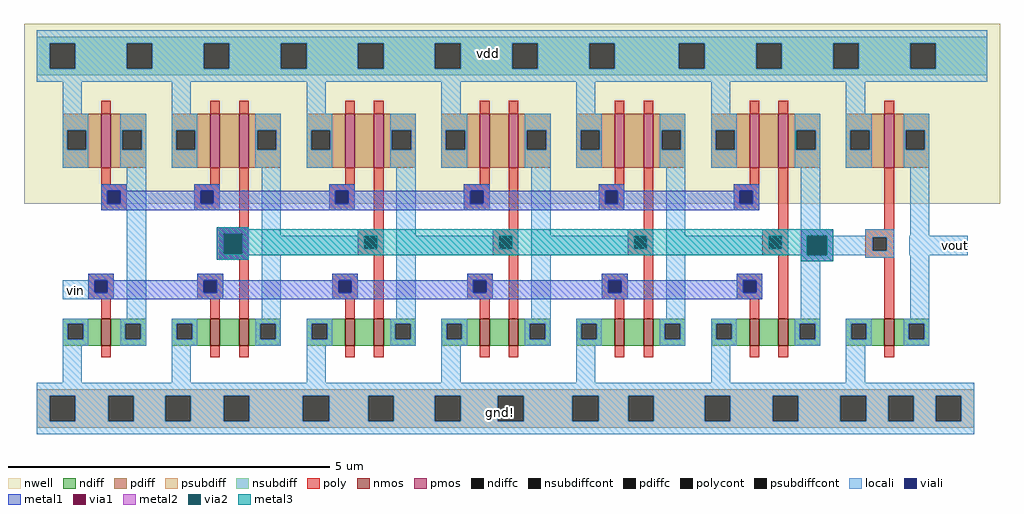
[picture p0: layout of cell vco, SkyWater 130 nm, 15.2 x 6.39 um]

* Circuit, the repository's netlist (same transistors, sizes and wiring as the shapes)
* NGSPICE file created from vco.ext - technology: sky130A


* Top level circuit vco

X0 a_915_n134# a_100_n200# vdd vdd sky130_fd_pr__pfet_01v8 w=840000u l=150000u
X1 a_540_n411# a_330_n411# a_495_n411# gnd sky130_fd_pr__nfet_01v8 w=420000u l=150000u
X2 a_705_n411# vin gnd gnd sky130_fd_pr__nfet_01v8 w=420000u l=150000u
X3 a_495_n411# vin gnd gnd sky130_fd_pr__nfet_01v8 w=420000u l=150000u
X4 a_100_n200# a_100_n200# vdd vdd sky130_fd_pr__pfet_01v8 w=840000u l=150000u
X5 a_330_n411# a_280_n277# a_285_n411# gnd sky130_fd_pr__nfet_01v8 w=420000u l=150000u
X6 a_285_n411# vin gnd gnd sky130_fd_pr__nfet_01v8 w=420000u l=150000u
X7 a_960_n411# a_750_n411# a_915_n134# vdd sky130_fd_pr__pfet_01v8 w=840000u l=150000u
X8 a_705_n134# a_100_n200# vdd vdd sky130_fd_pr__pfet_01v8 w=840000u l=150000u
X9 a_750_n411# a_540_n411# a_705_n134# vdd sky130_fd_pr__pfet_01v8 w=840000u l=150000u
X10 vout a_280_n277# gnd gnd sky130_fd_pr__nfet_01v8 w=420000u l=150000u
X11 a_540_n411# a_330_n411# a_495_n134# vdd sky130_fd_pr__pfet_01v8 w=840000u l=150000u
X12 a_1125_n411# vin gnd gnd sky130_fd_pr__nfet_01v8 w=420000u l=150000u
X13 a_495_n134# a_100_n200# vdd vdd sky130_fd_pr__pfet_01v8 w=840000u l=150000u
X14 a_330_n411# a_280_n277# a_285_n134# vdd sky130_fd_pr__pfet_01v8 w=840000u l=150000u
X15 a_285_n134# a_100_n200# vdd vdd sky130_fd_pr__pfet_01v8 w=840000u l=150000u
X16 a_280_n277# a_960_n411# a_1125_n411# gnd sky130_fd_pr__nfet_01v8 w=420000u l=150000u
X17 vout a_280_n277# vdd vdd sky130_fd_pr__pfet_01v8 w=840000u l=150000u
X18 a_1125_n134# a_100_n200# vdd vdd sky130_fd_pr__pfet_01v8 w=840000u l=150000u
X19 a_915_n411# vin gnd gnd sky130_fd_pr__nfet_01v8 w=420000u l=150000u
X20 a_100_n200# vin gnd gnd sky130_fd_pr__nfet_01v8 w=420000u l=150000u
X21 a_280_n277# a_960_n411# a_1125_n134# vdd sky130_fd_pr__pfet_01v8 w=840000u l=150000u
X22 a_960_n411# a_750_n411# a_915_n411# gnd sky130_fd_pr__nfet_01v8 w=420000u l=150000u
X23 a_750_n411# a_540_n411# a_705_n411# gnd sky130_fd_pr__nfet_01v8 w=420000u l=150000u
.end

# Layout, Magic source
magic
tech sky130A
<< nwell >>
rect -20 -190 1500 90
<< nmos >>
rect 100 -411 115 -369
rect 270 -411 285 -369
rect 315 -411 330 -369
rect 480 -411 495 -369
rect 525 -411 540 -369
rect 690 -411 705 -369
rect 735 -411 750 -369
rect 900 -411 915 -369
rect 945 -411 960 -369
rect 1110 -411 1125 -369
rect 1155 -411 1170 -369
rect 1320 -411 1335 -369
<< pmos >>
rect 100 -134 115 -50
rect 270 -134 285 -50
rect 315 -134 330 -50
rect 480 -134 495 -50
rect 525 -134 540 -50
rect 690 -134 705 -50
rect 735 -134 750 -50
rect 900 -134 915 -50
rect 945 -134 960 -50
rect 1110 -134 1125 -50
rect 1155 -134 1170 -50
rect 1320 -134 1335 -50
<< ndiff >>
rect 40 -377 100 -369
rect 40 -401 48 -377
rect 72 -401 100 -377
rect 40 -411 100 -401
rect 115 -377 170 -369
rect 115 -401 138 -377
rect 162 -401 170 -377
rect 115 -411 170 -401
rect 210 -377 270 -369
rect 210 -401 218 -377
rect 242 -401 270 -377
rect 210 -411 270 -401
rect 285 -411 315 -369
rect 330 -377 380 -369
rect 330 -401 348 -377
rect 372 -401 380 -377
rect 330 -411 380 -401
rect 420 -377 480 -369
rect 420 -401 428 -377
rect 452 -401 480 -377
rect 420 -411 480 -401
rect 495 -411 525 -369
rect 540 -377 590 -369
rect 540 -401 558 -377
rect 582 -401 590 -377
rect 540 -411 590 -401
rect 630 -377 690 -369
rect 630 -401 638 -377
rect 662 -401 690 -377
rect 630 -411 690 -401
rect 705 -411 735 -369
rect 750 -377 800 -369
rect 750 -401 768 -377
rect 792 -401 800 -377
rect 750 -411 800 -401
rect 840 -377 900 -369
rect 840 -401 848 -377
rect 872 -401 900 -377
rect 840 -411 900 -401
rect 915 -411 945 -369
rect 960 -377 1010 -369
rect 960 -401 978 -377
rect 1002 -401 1010 -377
rect 960 -411 1010 -401
rect 1050 -377 1110 -369
rect 1050 -401 1058 -377
rect 1082 -401 1110 -377
rect 1050 -411 1110 -401
rect 1125 -411 1155 -369
rect 1170 -377 1220 -369
rect 1170 -401 1188 -377
rect 1212 -401 1220 -377
rect 1170 -411 1220 -401
rect 1260 -377 1320 -369
rect 1260 -401 1268 -377
rect 1292 -401 1320 -377
rect 1260 -411 1320 -401
rect 1335 -377 1390 -369
rect 1335 -401 1358 -377
rect 1382 -401 1390 -377
rect 1335 -411 1390 -401
<< pdiff >>
rect 40 -76 100 -50
rect 40 -106 47 -76
rect 77 -106 100 -76
rect 40 -134 100 -106
rect 115 -76 170 -50
rect 115 -106 133 -76
rect 163 -106 170 -76
rect 115 -134 170 -106
rect 210 -76 270 -50
rect 210 -106 217 -76
rect 247 -106 270 -76
rect 210 -134 270 -106
rect 285 -134 315 -50
rect 330 -76 380 -50
rect 330 -106 343 -76
rect 373 -106 380 -76
rect 330 -134 380 -106
rect 420 -76 480 -50
rect 420 -106 427 -76
rect 457 -106 480 -76
rect 420 -134 480 -106
rect 495 -134 525 -50
rect 540 -76 590 -50
rect 540 -106 553 -76
rect 583 -106 590 -76
rect 540 -134 590 -106
rect 630 -76 690 -50
rect 630 -106 637 -76
rect 667 -106 690 -76
rect 630 -134 690 -106
rect 705 -134 735 -50
rect 750 -76 800 -50
rect 750 -106 763 -76
rect 793 -106 800 -76
rect 750 -134 800 -106
rect 840 -76 900 -50
rect 840 -106 847 -76
rect 877 -106 900 -76
rect 840 -134 900 -106
rect 915 -134 945 -50
rect 960 -76 1010 -50
rect 960 -106 973 -76
rect 1003 -106 1010 -76
rect 960 -134 1010 -106
rect 1050 -76 1110 -50
rect 1050 -106 1057 -76
rect 1087 -106 1110 -76
rect 1050 -134 1110 -106
rect 1125 -134 1155 -50
rect 1170 -76 1220 -50
rect 1170 -106 1183 -76
rect 1213 -106 1220 -76
rect 1170 -134 1220 -106
rect 1260 -76 1320 -50
rect 1260 -106 1267 -76
rect 1297 -106 1320 -76
rect 1260 -134 1320 -106
rect 1335 -76 1390 -50
rect 1335 -106 1353 -76
rect 1383 -106 1390 -76
rect 1335 -134 1390 -106
<< ndiffc >>
rect 48 -401 72 -377
rect 138 -401 162 -377
rect 218 -401 242 -377
rect 348 -401 372 -377
rect 428 -401 452 -377
rect 558 -401 582 -377
rect 638 -401 662 -377
rect 768 -401 792 -377
rect 848 -401 872 -377
rect 978 -401 1002 -377
rect 1058 -401 1082 -377
rect 1188 -401 1212 -377
rect 1268 -401 1292 -377
rect 1358 -401 1382 -377
<< pdiffc >>
rect 47 -106 77 -76
rect 133 -106 163 -76
rect 217 -106 247 -76
rect 343 -106 373 -76
rect 427 -106 457 -76
rect 553 -106 583 -76
rect 637 -106 667 -76
rect 763 -106 793 -76
rect 847 -106 877 -76
rect 973 -106 1003 -76
rect 1057 -106 1087 -76
rect 1183 -106 1213 -76
rect 1267 -106 1297 -76
rect 1353 -106 1383 -76
<< psubdiff >>
rect 0 -489 1460 -479
rect 0 -529 20 -489
rect 60 -529 111 -489
rect 151 -529 200 -489
rect 240 -529 291 -489
rect 331 -529 414 -489
rect 455 -529 516 -489
rect 556 -529 620 -489
rect 660 -529 718 -489
rect 758 -529 834 -489
rect 875 -529 921 -489
rect 961 -529 1040 -489
rect 1080 -529 1146 -489
rect 1186 -529 1251 -489
rect 1292 -529 1326 -489
rect 1366 -529 1400 -489
rect 1440 -529 1460 -489
rect 0 -539 1460 -529
<< nsubdiff >>
rect 0 60 1480 70
rect 0 20 20 60
rect 60 20 140 60
rect 180 20 260 60
rect 300 20 380 60
rect 420 20 500 60
rect 540 20 620 60
rect 660 20 740 60
rect 780 20 860 60
rect 900 20 1000 60
rect 1040 20 1120 60
rect 1160 20 1240 60
rect 1280 20 1360 60
rect 1400 20 1480 60
rect 0 10 1480 20
<< psubdiffcont >>
rect 20 -529 60 -489
rect 111 -529 151 -489
rect 200 -529 240 -489
rect 291 -529 331 -489
rect 414 -529 455 -489
rect 516 -529 556 -489
rect 620 -529 660 -489
rect 718 -529 758 -489
rect 834 -529 875 -489
rect 921 -529 961 -489
rect 1040 -529 1080 -489
rect 1146 -529 1186 -489
rect 1251 -529 1292 -489
rect 1326 -529 1366 -489
rect 1400 -529 1440 -489
<< nsubdiffcont >>
rect 20 20 60 60
rect 140 20 180 60
rect 260 20 300 60
rect 380 20 420 60
rect 500 20 540 60
rect 620 20 660 60
rect 740 20 780 60
rect 860 20 900 60
rect 1000 20 1040 60
rect 1120 20 1160 60
rect 1240 20 1280 60
rect 1360 20 1400 60
<< poly >>
rect 100 -50 115 -30
rect 270 -50 285 -30
rect 315 -50 330 -30
rect 480 -50 495 -30
rect 525 -50 540 -30
rect 690 -50 705 -30
rect 735 -50 750 -30
rect 900 -50 915 -30
rect 945 -50 960 -30
rect 1110 -50 1125 -30
rect 1155 -50 1170 -30
rect 1320 -50 1335 -30
rect 100 -160 115 -134
rect 270 -160 285 -134
rect 100 -170 140 -160
rect 100 -190 110 -170
rect 130 -190 140 -170
rect 100 -200 140 -190
rect 245 -170 285 -160
rect 245 -190 255 -170
rect 275 -190 285 -170
rect 245 -200 285 -190
rect 315 -227 330 -134
rect 480 -160 495 -134
rect 455 -170 495 -160
rect 455 -190 465 -170
rect 485 -190 495 -170
rect 455 -200 495 -190
rect 280 -237 330 -227
rect 525 -230 540 -134
rect 690 -160 705 -134
rect 665 -170 705 -160
rect 665 -190 675 -170
rect 695 -190 705 -170
rect 665 -200 705 -190
rect 735 -230 750 -134
rect 900 -160 915 -134
rect 875 -170 915 -160
rect 875 -190 885 -170
rect 905 -190 915 -170
rect 875 -200 915 -190
rect 945 -230 960 -134
rect 1110 -160 1125 -134
rect 1085 -170 1125 -160
rect 1085 -190 1095 -170
rect 1115 -190 1125 -170
rect 1085 -200 1125 -190
rect 1155 -230 1170 -134
rect 1320 -230 1335 -134
rect 280 -268 291 -237
rect 320 -268 330 -237
rect 280 -277 330 -268
rect 500 -240 540 -230
rect 500 -260 510 -240
rect 530 -260 540 -240
rect 500 -270 540 -260
rect 710 -240 750 -230
rect 710 -260 720 -240
rect 740 -260 750 -240
rect 710 -270 750 -260
rect 920 -240 960 -230
rect 920 -260 930 -240
rect 950 -260 960 -240
rect 920 -270 960 -260
rect 1130 -240 1170 -230
rect 1130 -260 1140 -240
rect 1160 -260 1170 -240
rect 1130 -270 1170 -260
rect 80 -309 120 -299
rect 80 -329 90 -309
rect 110 -329 120 -309
rect 80 -339 120 -329
rect 250 -309 290 -299
rect 250 -329 260 -309
rect 280 -329 290 -309
rect 250 -339 290 -329
rect 100 -369 115 -339
rect 270 -369 285 -339
rect 315 -369 330 -277
rect 460 -309 500 -299
rect 460 -329 470 -309
rect 490 -329 500 -309
rect 460 -339 500 -329
rect 480 -369 495 -339
rect 525 -369 540 -270
rect 670 -309 710 -299
rect 670 -329 680 -309
rect 700 -329 710 -309
rect 670 -339 710 -329
rect 690 -369 705 -339
rect 735 -369 750 -270
rect 880 -309 920 -299
rect 880 -329 890 -309
rect 910 -329 920 -309
rect 880 -339 920 -329
rect 900 -369 915 -339
rect 945 -369 960 -270
rect 1090 -309 1130 -299
rect 1090 -329 1100 -309
rect 1120 -329 1130 -309
rect 1090 -339 1130 -329
rect 1110 -369 1125 -339
rect 1155 -369 1170 -270
rect 1290 -242 1335 -230
rect 1290 -263 1302 -242
rect 1324 -263 1335 -242
rect 1290 -274 1335 -263
rect 1320 -369 1335 -274
rect 100 -429 115 -411
rect 270 -429 285 -411
rect 315 -429 330 -411
rect 480 -429 495 -411
rect 525 -429 540 -411
rect 690 -429 705 -411
rect 735 -429 750 -411
rect 900 -429 915 -411
rect 945 -429 960 -411
rect 1110 -429 1125 -411
rect 1155 -429 1170 -411
rect 1320 -429 1335 -411
<< polycont >>
rect 110 -190 130 -170
rect 255 -190 275 -170
rect 465 -190 485 -170
rect 675 -190 695 -170
rect 885 -190 905 -170
rect 1095 -190 1115 -170
rect 291 -268 320 -237
rect 510 -260 530 -240
rect 720 -260 740 -240
rect 930 -260 950 -240
rect 1140 -260 1160 -240
rect 90 -329 110 -309
rect 260 -329 280 -309
rect 470 -329 490 -309
rect 680 -329 700 -309
rect 890 -329 910 -309
rect 1100 -329 1120 -309
rect 1302 -263 1324 -242
<< locali >>
rect 0 60 1480 80
rect 0 20 20 60
rect 60 20 140 60
rect 180 20 260 60
rect 300 20 380 60
rect 420 20 500 60
rect 540 20 620 60
rect 660 20 740 60
rect 780 20 860 60
rect 900 20 1000 60
rect 1040 20 1120 60
rect 1160 20 1240 60
rect 1280 20 1360 60
rect 1400 20 1480 60
rect 0 0 1480 20
rect 40 -50 70 0
rect 210 -50 240 0
rect 420 -50 450 0
rect 630 -50 660 0
rect 840 -50 870 0
rect 1050 -50 1080 0
rect 1260 -50 1290 0
rect 40 -76 80 -50
rect 40 -106 47 -76
rect 77 -106 80 -76
rect 40 -134 80 -106
rect 130 -76 170 -50
rect 130 -106 133 -76
rect 163 -106 170 -76
rect 130 -134 170 -106
rect 210 -76 250 -50
rect 210 -106 217 -76
rect 247 -106 250 -76
rect 210 -134 250 -106
rect 340 -76 380 -50
rect 340 -106 343 -76
rect 373 -106 380 -76
rect 340 -134 380 -106
rect 420 -76 460 -50
rect 420 -106 427 -76
rect 457 -106 460 -76
rect 420 -134 460 -106
rect 550 -76 590 -50
rect 550 -106 553 -76
rect 583 -106 590 -76
rect 550 -134 590 -106
rect 630 -76 670 -50
rect 630 -106 637 -76
rect 667 -106 670 -76
rect 630 -134 670 -106
rect 760 -76 800 -50
rect 760 -106 763 -76
rect 793 -106 800 -76
rect 760 -134 800 -106
rect 840 -76 880 -50
rect 840 -106 847 -76
rect 877 -106 880 -76
rect 840 -134 880 -106
rect 970 -76 1010 -50
rect 970 -106 973 -76
rect 1003 -106 1010 -76
rect 970 -134 1010 -106
rect 1050 -76 1090 -50
rect 1050 -106 1057 -76
rect 1087 -106 1090 -76
rect 1050 -134 1090 -106
rect 1180 -76 1220 -50
rect 1180 -106 1183 -76
rect 1213 -106 1220 -76
rect 1180 -134 1220 -106
rect 1260 -76 1300 -50
rect 1260 -106 1267 -76
rect 1297 -106 1300 -76
rect 1260 -134 1300 -106
rect 1350 -76 1390 -50
rect 1350 -106 1353 -76
rect 1383 -106 1390 -76
rect 1350 -134 1390 -106
rect 140 -160 170 -134
rect 100 -170 170 -160
rect 100 -190 110 -170
rect 130 -190 170 -170
rect 100 -200 170 -190
rect 245 -170 285 -160
rect 245 -190 255 -170
rect 275 -190 285 -170
rect 245 -200 285 -190
rect 80 -309 120 -299
rect 40 -329 90 -309
rect 110 -329 120 -309
rect 40 -339 120 -329
rect 140 -369 170 -200
rect 280 -237 330 -227
rect 280 -268 291 -237
rect 320 -268 330 -237
rect 280 -277 330 -268
rect 350 -240 380 -134
rect 455 -170 495 -160
rect 455 -190 465 -170
rect 485 -190 495 -170
rect 455 -200 495 -190
rect 500 -240 540 -230
rect 350 -260 510 -240
rect 530 -260 540 -240
rect 350 -270 540 -260
rect 560 -240 590 -134
rect 665 -170 705 -160
rect 665 -190 675 -170
rect 695 -190 705 -170
rect 665 -200 705 -190
rect 710 -240 750 -230
rect 560 -260 720 -240
rect 740 -260 750 -240
rect 560 -270 750 -260
rect 770 -240 800 -134
rect 875 -170 915 -160
rect 875 -190 885 -170
rect 905 -190 915 -170
rect 875 -200 915 -190
rect 920 -240 960 -230
rect 770 -260 930 -240
rect 950 -260 960 -240
rect 770 -270 960 -260
rect 980 -240 1010 -134
rect 1085 -170 1125 -160
rect 1085 -190 1095 -170
rect 1115 -190 1125 -170
rect 1085 -200 1125 -190
rect 1190 -230 1220 -134
rect 1130 -240 1170 -230
rect 980 -260 1140 -240
rect 1160 -260 1170 -240
rect 980 -270 1170 -260
rect 1190 -240 1240 -230
rect 1290 -240 1335 -230
rect 1360 -240 1390 -134
rect 1190 -270 1200 -240
rect 1230 -242 1335 -240
rect 1230 -263 1302 -242
rect 1324 -263 1335 -242
rect 1230 -270 1335 -263
rect 1359 -270 1450 -240
rect 250 -309 290 -299
rect 250 -329 260 -309
rect 280 -329 290 -309
rect 250 -339 290 -329
rect 350 -369 380 -270
rect 460 -309 500 -299
rect 460 -329 470 -309
rect 490 -329 500 -309
rect 460 -339 500 -329
rect 560 -369 590 -270
rect 670 -309 710 -299
rect 670 -329 680 -309
rect 700 -329 710 -309
rect 670 -339 710 -329
rect 770 -369 800 -270
rect 880 -309 920 -299
rect 880 -329 890 -309
rect 910 -329 920 -309
rect 880 -339 920 -329
rect 980 -369 1010 -270
rect 1190 -280 1240 -270
rect 1290 -274 1335 -270
rect 1090 -309 1130 -299
rect 1090 -329 1100 -309
rect 1120 -329 1130 -309
rect 1090 -339 1130 -329
rect 1190 -369 1220 -280
rect 1360 -369 1390 -270
rect 40 -377 80 -369
rect 40 -401 48 -377
rect 72 -401 80 -377
rect 40 -411 80 -401
rect 130 -377 170 -369
rect 130 -401 138 -377
rect 162 -401 170 -377
rect 130 -411 170 -401
rect 210 -377 250 -369
rect 210 -401 218 -377
rect 242 -401 250 -377
rect 210 -411 250 -401
rect 340 -377 380 -369
rect 340 -401 348 -377
rect 372 -401 380 -377
rect 340 -411 380 -401
rect 420 -377 460 -369
rect 420 -401 428 -377
rect 452 -401 460 -377
rect 420 -411 460 -401
rect 550 -377 590 -369
rect 550 -401 558 -377
rect 582 -401 590 -377
rect 550 -411 590 -401
rect 630 -377 670 -369
rect 630 -401 638 -377
rect 662 -401 670 -377
rect 630 -411 670 -401
rect 760 -377 800 -369
rect 760 -401 768 -377
rect 792 -401 800 -377
rect 760 -411 800 -401
rect 840 -377 880 -369
rect 840 -401 848 -377
rect 872 -401 880 -377
rect 840 -411 880 -401
rect 970 -377 1010 -369
rect 970 -401 978 -377
rect 1002 -401 1010 -377
rect 970 -411 1010 -401
rect 1050 -377 1090 -369
rect 1050 -401 1058 -377
rect 1082 -401 1090 -377
rect 1050 -411 1090 -401
rect 1180 -377 1220 -369
rect 1180 -401 1188 -377
rect 1212 -401 1220 -377
rect 1180 -411 1220 -401
rect 1260 -377 1300 -369
rect 1260 -401 1268 -377
rect 1292 -401 1300 -377
rect 1260 -411 1300 -401
rect 1350 -377 1390 -369
rect 1350 -401 1358 -377
rect 1382 -401 1390 -377
rect 1350 -411 1390 -401
rect 40 -469 70 -411
rect 210 -469 240 -411
rect 420 -469 450 -411
rect 630 -469 660 -411
rect 840 -469 870 -411
rect 1050 -469 1080 -411
rect 1260 -469 1290 -411
rect 0 -489 1460 -469
rect 0 -529 20 -489
rect 60 -529 111 -489
rect 151 -529 200 -489
rect 240 -529 291 -489
rect 331 -529 414 -489
rect 455 -529 516 -489
rect 556 -529 620 -489
rect 660 -529 718 -489
rect 758 -529 834 -489
rect 875 -529 921 -489
rect 961 -529 1040 -489
rect 1080 -529 1146 -489
rect 1186 -529 1251 -489
rect 1292 -529 1326 -489
rect 1366 -529 1400 -489
rect 1440 -529 1460 -489
rect 0 -549 1460 -529
<< viali >>
rect 110 -190 130 -170
rect 255 -190 275 -170
rect 90 -329 110 -309
rect 291 -268 320 -237
rect 465 -190 485 -170
rect 675 -190 695 -170
rect 885 -190 905 -170
rect 1095 -190 1115 -170
rect 1200 -270 1230 -240
rect 260 -329 280 -309
rect 470 -329 490 -309
rect 680 -329 700 -309
rect 890 -329 910 -309
rect 1100 -329 1120 -309
<< metal1 >>
rect 100 -170 140 -160
rect 245 -170 285 -160
rect 455 -170 495 -160
rect 665 -170 705 -160
rect 875 -170 915 -160
rect 1085 -170 1125 -160
rect 100 -190 110 -170
rect 130 -190 255 -170
rect 275 -190 465 -170
rect 485 -190 675 -170
rect 695 -190 885 -170
rect 905 -190 1095 -170
rect 1115 -190 1125 -170
rect 100 -200 1125 -190
rect 280 -237 330 -227
rect 280 -268 291 -237
rect 320 -268 330 -237
rect 280 -277 330 -268
rect 1190 -240 1240 -230
rect 1190 -270 1200 -240
rect 1230 -270 1240 -240
rect 1190 -280 1240 -270
rect 80 -309 120 -299
rect 250 -309 290 -299
rect 460 -309 500 -299
rect 670 -309 710 -299
rect 880 -309 920 -299
rect 1090 -309 1130 -299
rect 80 -329 90 -309
rect 110 -329 260 -309
rect 280 -329 470 -309
rect 490 -329 680 -309
rect 700 -329 890 -309
rect 910 -329 1100 -309
rect 1120 -329 1130 -309
rect 80 -339 1130 -329
<< via1 >>
rect 291 -268 320 -237
rect 1200 -270 1230 -240
<< metal2 >>
rect 280 -237 330 -227
rect 280 -268 291 -237
rect 320 -268 330 -237
rect 280 -277 330 -268
rect 1190 -240 1240 -230
rect 1190 -270 1200 -240
rect 1230 -270 1240 -240
rect 1190 -280 1240 -270
<< via2 >>
rect 291 -268 320 -237
rect 1200 -270 1230 -240
<< metal3 >>
rect 280 -230 330 -227
rect 280 -237 1240 -230
rect 280 -268 291 -237
rect 320 -240 1240 -237
rect 320 -268 1200 -240
rect 280 -270 1200 -268
rect 1230 -270 1240 -240
rect 280 -277 330 -270
rect 1190 -280 1240 -270
<< labels >>
rlabel locali 688 36 720 52 1 vdd
rlabel locali 706 -524 738 -508 1 gnd!
rlabel locali 48 -330 71 -320 1 vin
rlabel locali 1419 -260 1442 -250 1 vout
<< end >>
